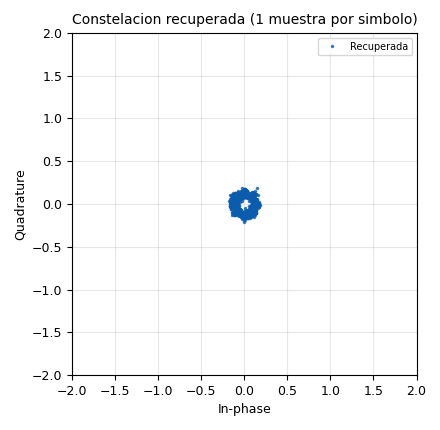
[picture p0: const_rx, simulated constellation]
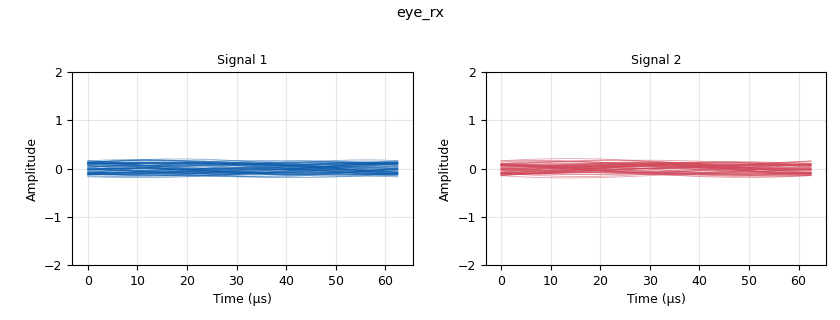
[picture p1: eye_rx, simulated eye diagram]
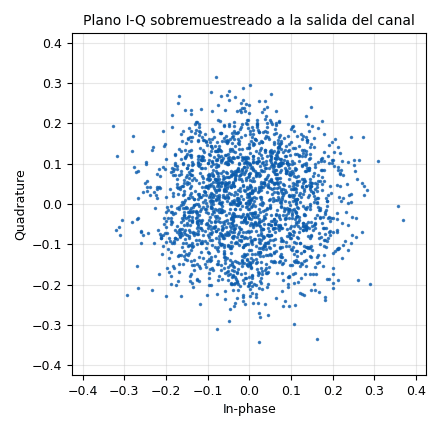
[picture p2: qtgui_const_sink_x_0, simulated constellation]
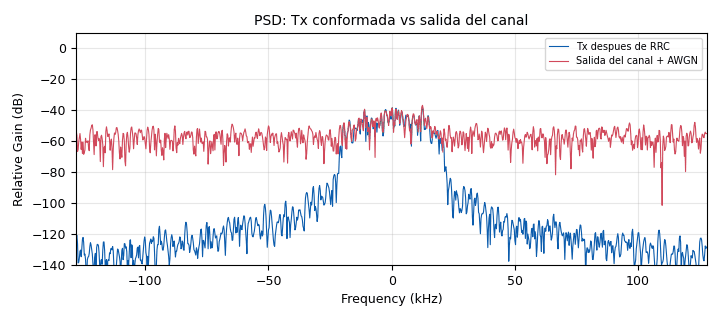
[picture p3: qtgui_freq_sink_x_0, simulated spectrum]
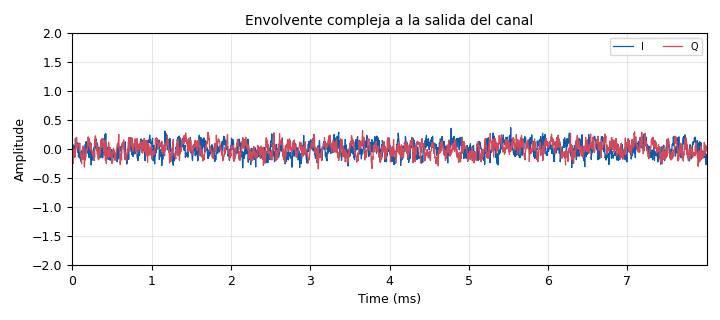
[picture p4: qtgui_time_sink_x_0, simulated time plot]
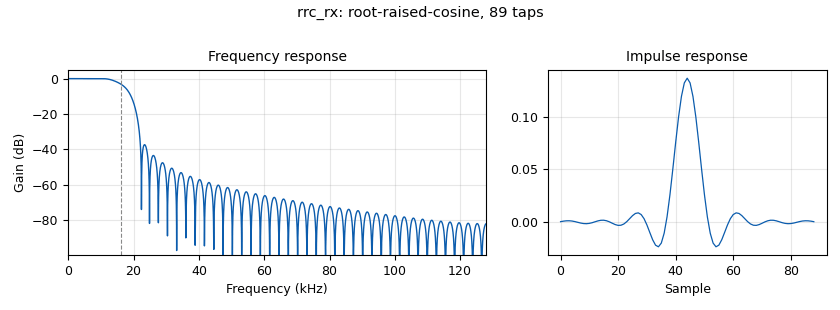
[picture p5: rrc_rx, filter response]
options:
  parameters:
    description: 'Base de continuidad: fuente, agrupacion, mapeo de constelacion, conformacion RRC de transmision y canal AWGN. No incluye receptor.'
    generate_options: qt_gui
    id: Guia2_BASE_Constelaciones_RRC_Tx_Canal
    output_language: python
    title: 'Guia2 - Base constelaciones: RRC Tx y canal'
  states: {}

blocks:
- name: M
  id: variable
  parameters:
    value: len(tabla_de_verdad_constelacion)
  states: {}
- name: Rb
  id: variable
  parameters:
    value: Rs*bps
  states: {}
- name: Rs
  id: variable
  parameters:
    value: '32000'
  states: {}
- name: Sps
  id: variable
  parameters:
    value: '8'
  states: {}
- name: beta
  id: variable_qtgui_range
  parameters:
    label: Roll-off beta
    start: '0.10'
    step: '0.05'
    stop: '1.0'
    value: '0.35'
  states: {}
- name: bps
  id: variable
  parameters:
    value: int(math.log(M,2))
  states: {}
- name: noise_amp
  id: variable_qtgui_range
  parameters:
    label: Amplitud de ruido AWGN
    start: '0'
    step: '0.01'
    stop: '0.5'
    value: '0.10'
  states: {}
- name: offset_muestreo
  id: variable_qtgui_range
  parameters:
    label: Offset de muestreo
    rangeType: int
    start: '0'
    step: '1'
    stop: Sps-1
    value: '0'
  states: {}
- name: rrc_rx_taps
  id: variable_rrc_filter_taps
  parameters:
    alpha: beta
    gain: '1'
    ntaps: span*Sps+1
    samp_rate: samp_rate
    sym_rate: Rs
  states: {}
- name: rrc_tx_taps
  id: variable_rrc_filter_taps
  parameters:
    alpha: beta
    gain: '1'
    ntaps: span*Sps+1
    samp_rate: samp_rate
    sym_rate: Rs
  states: {}
- name: samp_rate
  id: variable
  parameters:
    value: Rs*Sps
  states: {}
- name: span
  id: variable
  parameters:
    value: '11'
  states: {}
- name: tabla_de_verdad_constelacion
  id: variable
  parameters:
    comment: Cambie esta tabla para OOK ASK BPSK QPSK 8PSK o 16QAM
    value: (1+0j, 0.707+0.707j, 0+1j, -0.707+0.707j, -1+0j, -0.707-0.707j, 0-1j, 0.707-0.707j)
  states: {}
- name: analog_noise_source_x_0
  id: analog_noise_source_x
  parameters:
    amp: noise_amp
    noise_type: analog.GR_GAUSSIAN
    seed: '0'
    type: complex
  states: {}
- name: analog_random_source_x_0
  id: analog_random_source_x
  parameters:
    max: '2'
    min: '0'
    num_samps: '1000'
    repeat: 'True'
    type: byte
  states: {}
- name: bits_to_symbols
  id: blocks_repack_bits_bb
  parameters:
    endianness: gr.GR_MSB_FIRST
    k: '1'
    l: bps
  states: {}
- name: blocks_add_xx_0
  id: blocks_add_xx
  parameters:
    type: complex
  states: {}
- name: const_rx
  id: qtgui_const_sink_x
  parameters:
    grid: 'True'
    gui_hint: 1,1,1,1
    label1: '"Recuperada"'
    name: '"Constelacion recuperada (1 muestra por simbolo)"'
    size: '1024'
    type: complex
  states: {}
- name: digital_chunks_to_symbols_xx_0
  id: digital_chunks_to_symbols_xx
  parameters:
    dimension: '1'
    in_type: byte
    out_type: complex
    symbol_table: tabla_de_verdad_constelacion
  states: {}
- name: eye_rx
  id: qtgui_eye_sink_x
  parameters:
    grid: 'True'
    samp_per_symbol: Sps
    size: '1024'
    srate: samp_rate
    type: complex
    ymax: '2'
    ymin: '-2'
    yunit: '"Diagrama de ojo después del filtro acoplado"'
  states: {}
- name: import_0
  id: import
  parameters:
    imports: import math
  states: {}
- name: muestreo_rx
  id: blocks_keep_m_in_n
  parameters:
    m: '1'
    n: Sps
    offset: offset_muestreo
    type: complex
  states: {}
- name: qtgui_const_sink_x_0
  id: qtgui_const_sink_x
  parameters:
    autoscale: 'True'
    grid: 'True'
    gui_hint: 1,0,1,1
    label1: '"Salida del canal + AWGN"'
    legend: 'False'
    name: '"Plano I-Q sobremuestreado a la salida del canal"'
    size: '2048'
    type: complex
  states: {}
- name: qtgui_const_sink_x_0_0
  id: qtgui_const_sink_x
  parameters:
    autoscale: 'True'
    grid: 'True'
    label1: '"Salida del canal + AWGN"'
    legend: 'False'
    name: '"Plano I-Q sobremuestreado a la salida del canal"'
    size: '2048'
    type: complex
  states: {state: disabled}
- name: qtgui_const_sink_x_0_1
  id: qtgui_const_sink_x
  parameters:
    autoscale: 'True'
    grid: 'True'
    label1: '"Salida del canal + AWGN"'
    legend: 'False'
    name: '"Plano I-Q sobremuestreado a la salida del canal"'
    size: '2048'
    type: complex
  states: {state: disabled}
- name: qtgui_freq_sink_x_0
  id: qtgui_freq_sink_x
  parameters:
    bw: samp_rate
    fc: '0'
    fftsize: '1024'
    grid: 'True'
    gui_hint: 0,1,1,1
    label1: Tx despues de RRC
    label2: Salida del canal + AWGN
    name: '"PSD: Tx conformada vs salida del canal"'
    nconnections: '2'
    type: complex
  states: {}
- name: qtgui_freq_sink_x_0_0
  id: qtgui_freq_sink_x
  parameters:
    bw: samp_rate
    fc: '0'
    fftsize: '1024'
    grid: 'True'
    label1: Tx despues de RRC
    label2: Salida del canal + AWGN
    name: '"PSD: Tx conformada vs salida del canal"'
    nconnections: '2'
    type: complex
  states: {state: disabled}
- name: qtgui_freq_sink_x_0_1
  id: qtgui_freq_sink_x
  parameters:
    bw: samp_rate
    fc: '0'
    fftsize: '1024'
    grid: 'True'
    label1: Tx despues de RRC
    label2: Salida del canal + AWGN
    name: '"PSD: Tx conformada vs salida del canal"'
    nconnections: '2'
    type: complex
  states: {state: disabled}
- name: qtgui_time_sink_x_0
  id: qtgui_time_sink_x
  parameters:
    grid: 'True'
    gui_hint: 0,0,1,1
    label1: I
    label2: Q
    name: '"Envolvente compleja a la salida del canal"'
    size: '2048'
    srate: samp_rate
    type: complex
    ymax: '2'
    ymin: '-2'
  states: {}
- name: qtgui_time_sink_x_0_0
  id: qtgui_time_sink_x
  parameters:
    grid: 'True'
    label1: I
    label2: Q
    name: '"Envolvente compleja a la salida del canal"'
    size: '2048'
    srate: samp_rate
    type: complex
    ymax: '2'
    ymin: '-2'
  states: {state: disabled}
- name: qtgui_time_sink_x_0_1
  id: qtgui_time_sink_x
  parameters:
    grid: 'True'
    label1: I
    label2: Q
    name: '"Envolvente compleja a la salida del canal"'
    size: '2048'
    srate: samp_rate
    type: complex
    ymax: '2'
    ymin: '-2'
  states: {state: disabled}
- name: rrc_rx
  id: fir_filter_xxx
  parameters:
    decim: '1'
    taps: rrc_rx_taps
    type: ccc
  states: {}
- name: rrc_tx
  id: interp_fir_filter_xxx
  parameters:
    interp: Sps
    taps: rrc_tx_taps
    type: ccf
  states: {}
- name: throttle_0
  id: blocks_throttle2
  parameters:
    samples_per_second: samp_rate
    type: complex
  states: {}

connections:
- [analog_noise_source_x_0, '0', blocks_add_xx_0, '1']
- [analog_random_source_x_0, '0', bits_to_symbols, '0']
- [bits_to_symbols, '0', digital_chunks_to_symbols_xx_0, '0']
- [blocks_add_xx_0, '0', qtgui_const_sink_x_0, '0']
- [blocks_add_xx_0, '0', qtgui_freq_sink_x_0, '1']
- [blocks_add_xx_0, '0', qtgui_time_sink_x_0, '0']
- [blocks_add_xx_0, '0', rrc_rx, '0']
- [digital_chunks_to_symbols_xx_0, '0', rrc_tx, '0']
- [muestreo_rx, '0', const_rx, '0']
- [rrc_rx, '0', eye_rx, '0']
- [rrc_rx, '0', muestreo_rx, '0']
- [rrc_tx, '0', throttle_0, '0']
- [throttle_0, '0', blocks_add_xx_0, '0']
- [throttle_0, '0', qtgui_freq_sink_x_0, '0']

metadata:
  file_format: 1
  grc_version: 3.10.12.0
